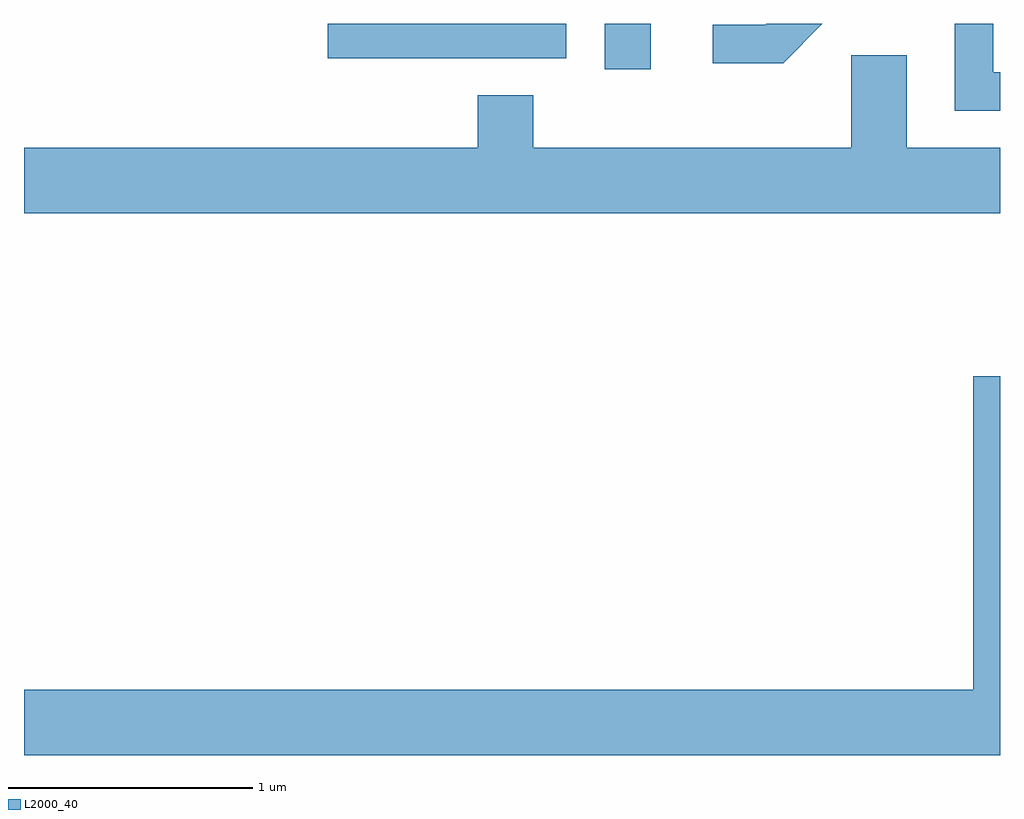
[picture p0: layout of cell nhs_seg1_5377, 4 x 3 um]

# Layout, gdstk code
import gdstk
lib = gdstk.Library(unit=1e-6, precision=1e-09)
def R(c, l, rs):  # rectangles x0, y0, x1, y1
    for r in rs: c.add(gdstk.rectangle(r[:2], r[2:], *l))
def P(c, l, *ps):  # polygons
    for p in ps: c.add(gdstk.Polygon(p, *l))
L2000_40 = (2000, 40)

nhs_seg1_5377 = lib.new_cell('nhs_seg1_5377')
R(nhs_seg1_5377, L2000_40, [(349.991,873.526,350.179,873.712), (348.856,873.571,349.834,873.712)])
P(nhs_seg1_5377, L2000_40, [(351.611,873.514),(351.584,873.514),(351.584,873.712),(351.426,873.712),(351.426,873.356),(351.611,873.356)],
  [(350.883,873.712),(350.652,873.712),(350.649,873.709),(350.433,873.709),(350.433,873.551),(350.722,873.551)],
  [(351.611,873.204),(351.229,873.204),(351.229,873.584),(351.001,873.584),(351.001,873.204),(349.699,873.204),(349.699,873.419),(349.471,873.419),(349.471,873.204),(347.611,873.204),(347.611,872.936),(351.611,872.936)],
  [(351.611,872.269),(351.501,872.269),(351.501,870.984),(347.611,870.984),(347.611,870.716),(351.611,870.716)])

lib.write_gds('nhs_seg1_5377.gds')
